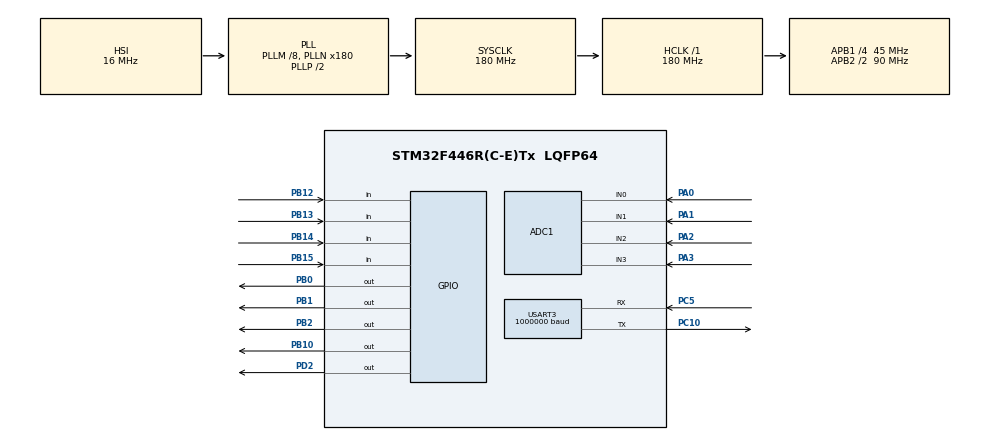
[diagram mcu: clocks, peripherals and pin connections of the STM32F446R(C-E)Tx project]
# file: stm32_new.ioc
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ADC1.Channel-1\#ChannelRegularConversion=ADC_CHANNEL_1
ADC1.Channel-2\#ChannelRegularConversion=ADC_CHANNEL_3
ADC1.Channel-3\#ChannelRegularConversion=ADC_CHANNEL_3
ADC1.ClockPrescaler=ADC_CLOCK_SYNC_PCLK_DIV4
ADC1.DMAContinuousRequests=ENABLE
ADC1.ExternalTrigConv=ADC_EXTERNALTRIGCONV_T8_TRGO
ADC1.NbrOfConversion=4
ADC1.NbrOfConversionFlag=1
ADC1.Rank-1\#ChannelRegularConversion=2
ADC1.Rank-2\#ChannelRegularConversion=3
ADC1.Rank-3\#ChannelRegularConversion=4
ADC1.SamplingTime-0\#ChannelRegularConversion=ADC_SAMPLETIME_15CYCLES
ADC1.SamplingTime-1\#ChannelRegularConversion=ADC_SAMPLETIME_15CYCLES
ADC1.SamplingTime-2\#ChannelRegularConversion=ADC_SAMPLETIME_15CYCLES
ADC1.SamplingTime-3\#ChannelRegularConversion=ADC_SAMPLETIME_15CYCLES
ADC1.ScanConvMode=ENABLE
ADC1.master=1
Dma.ADC1.0.Direction=DMA_PERIPH_TO_MEMORY
Dma.ADC1.0.FIFOMode=DMA_FIFOMODE_DISABLE
Dma.ADC1.0.Instance=DMA2_Stream0
Dma.ADC1.0.MemDataAlignment=DMA_MDATAALIGN_WORD
Dma.ADC1.0.MemInc=DMA_MINC_ENABLE
Dma.ADC1.0.Mode=DMA_CIRCULAR
Dma.ADC1.0.PeriphDataAlignment=DMA_PDATAALIGN_WORD
Dma.ADC1.0.PeriphInc=DMA_PINC_DISABLE
Dma.ADC1.0.Priority=DMA_PRIORITY_LOW
Dma.Request0=ADC1
Dma.Request1=USART3_RX
Dma.USART3_RX.1.Direction=DMA_PERIPH_TO_MEMORY
Dma.USART3_RX.1.FIFOMode=DMA_FIFOMODE_DISABLE
Dma.USART3_RX.1.Instance=DMA1_Stream1
Dma.USART3_RX.1.MemDataAlignment=DMA_MDATAALIGN_BYTE
Dma.USART3_RX.1.MemInc=DMA_MINC_ENABLE
Dma.USART3_RX.1.Mode=DMA_CIRCULAR
Dma.USART3_RX.1.PeriphDataAlignment=DMA_PDATAALIGN_BYTE
Dma.USART3_RX.1.PeriphInc=DMA_PINC_DISABLE
Dma.USART3_RX.1.Priority=DMA_PRIORITY_LOW
Mcu.Family=STM32F4
Mcu.Name=STM32F446R(C-E)Tx
Mcu.Package=LQFP64
NVIC.ADC_IRQn=true\:0\:0\:false\:false\:true\:true\:true\:true
NVIC.DMA1_Stream1_IRQn=true\:0\:0\:false\:false\:true\:false\:true\:true
NVIC.DMA2_Stream0_IRQn=true\:0\:0\:false\:false\:true\:false\:true\:true
NVIC.PriorityGroup=NVIC_PRIORITYGROUP_4
NVIC.TIM6_DAC_IRQn=true\:0\:0\:false\:false\:true\:true\:true\:true
NVIC.TIM8_UP_TIM13_IRQn=true\:0\:0\:false\:false\:true\:true\:true\:true
NVIC.USART3_IRQn=true\:0\:0\:false\:false\:true\:true\:true\:true
PA0-WKUP.Signal=ADCx_IN0
PA1.Signal=ADCx_IN1
PA13.Mode=Serial_Wire
PA13.Signal=SYS_JTMS-SWDIO
PA14.Mode=Serial_Wire
PA14.Signal=SYS_JTCK-SWCLK
PA2.Signal=ADCx_IN2
PA3.Signal=ADCx_IN3
PB0.Signal=GPIO_Output
PB1.Signal=GPIO_Output
PB10.Signal=GPIO_Output
PB12.Signal=GPIO_Input
PB13.Signal=GPIO_Input
PB14.Signal=GPIO_Input
PB15.Signal=GPIO_Input
PB2.Signal=GPIO_Output
PC10.Mode=Asynchronous
PC10.Signal=USART3_TX
PC5.Mode=Asynchronous
PC5.Signal=USART3_RX
PD2.Signal=GPIO_Output
PH0-OSC_IN.Mode=HSE-External-Oscillator
PH0-OSC_IN.Signal=RCC_OSC_IN
PH1-OSC_OUT.Mode=HSE-External-Oscillator
PH1-OSC_OUT.Signal=RCC_OSC_OUT
ProjectManager.HeapSize=0x200
ProjectManager.StackSize=0x400
ProjectManager.TargetToolchain=STM32CubeIDE
RCC.AHBFreq_Value=180000000
RCC.APB1CLKDivider=RCC_HCLK_DIV4
RCC.APB1Freq_Value=45000000
RCC.APB1TimFreq_Value=90000000
RCC.APB2CLKDivider=RCC_HCLK_DIV2
RCC.APB2Freq_Value=90000000
RCC.APB2TimFreq_Value=180000000
RCC.CortexFreq_Value=180000000
RCC.HCLKFreq_Value=180000000
RCC.HSE_VALUE=25000000
RCC.PLLM=8
RCC.PLLN=180
RCC.SYSCLKFreq_VALUE=180000000
RCC.SYSCLKSource=RCC_SYSCLKSOURCE_PLLCLK
RCC.USBFreq_Value=180000000
RCC.VCOOutputFreq_Value=360000000
SH.ADCx_IN0.0=ADC1_IN0,IN0
SH.ADCx_IN1.0=ADC1_IN1,IN1
SH.ADCx_IN2.0=ADC1_IN2,IN2
SH.ADCx_IN3.0=ADC1_IN3,IN3
TIM6.Period=100-1
TIM6.Prescaler=90-1
TIM8.Period=10000-1
TIM8.Prescaler=180-1
TIM8.TIM_MasterOutputTrigger=TIM_TRGO_UPDATE
USART3.BaudRate=1000000
USART3.VirtualMode=VM_ASYNC
VP_TIM6_VS_ClockSourceINT.Mode=Enable_Timer
VP_TIM8_VS_ClockSourceINT.Mode=Internal
board=custom

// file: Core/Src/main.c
/* USER CODE BEGIN Header */
/**
  ******************************************************************************
  * @file           : main.c
  * @brief          : Main program body
  ******************************************************************************
  * @attention
  *
  * Copyright (c) 2026 STMicroelectronics.
  * All rights reserved.
  *
  * This software is licensed under terms that can be found in the LICENSE file
  * in the root directory of this software component.
  * If no LICENSE file comes with this software, it is provided AS-IS.
  *
  ******************************************************************************
  */
/* USER CODE END Header */
#include "main.h"
#include "adc.h"
#include "dma.h"
#include "tim.h"
#include "usart.h"
#include "gpio.h"

/* USER CODE BEGIN PD */
#define RX_BUFFER_SIZE 256
/* USER CODE END PD */

/* USER CODE BEGIN PV */
uint8_t PCrxBuffer[RX_BUFFER_SIZE];

/* 과제1: 스위치 4개 -> LED 4개 매핑 */
#define SW_LED_COUNT 4
GPIO_TypeDef* sw_led_port[SW_LED_COUNT] = {GPIOB, GPIOB, GPIOB, GPIOB};
uint16_t      sw_led_pin[SW_LED_COUNT]  = {GPIO_PIN_0, GPIO_PIN_1, GPIO_PIN_2, GPIO_PIN_10};
GPIO_TypeDef* sw_port[SW_LED_COUNT]     = {GPIOB, GPIOB, GPIOB, GPIOB};
uint16_t      sw_pin[SW_LED_COUNT]      = {GPIO_PIN_12, GPIO_PIN_13, GPIO_PIN_14, GPIO_PIN_15};
/* USER CODE END PV */

void SystemClock_Config(void);

/* USER CODE BEGIN 0 */
#define SW_PRESSED(port, pin) (HAL_GPIO_ReadPin(port, pin) == GPIO_PIN_RESET)
/* USER CODE END 0 */

int main(void)
{

  HAL_Init();

  SystemClock_Config();

  MX_GPIO_Init();
  MX_DMA_Init();
  MX_ADC1_Init();
  MX_TIM8_Init();
  MX_TIM6_Init();
  MX_USART3_UART_Init();
  /* USER CODE BEGIN 2 */
  LL_USART_EnableDMAReq_RX(USART3);
  LL_USART_EnableIT_IDLE(USART3);
  LL_DMA_SetMemoryAddress(DMA1, LL_DMA_STREAM_1, (uint32_t)PCrxBuffer);
  LL_DMA_SetDataLength(DMA1, LL_DMA_STREAM_1, RX_BUFFER_SIZE);
  LL_DMA_SetPeriphAddress(DMA1, LL_DMA_STREAM_1, (uint32_t)&USART3->DR);
  LL_DMA_EnableStream(DMA1, LL_DMA_STREAM_1);
  /* USER CODE END 2 */

  /* Infinite loop */
  /* USER CODE BEGIN WHILE */
  while (1)
  {
      /* 1. PD2 LED: 항상 0.5초마다 토글 (1초 주기 - 0.5초 on / 0.5초 off) */
      HAL_GPIO_TogglePin(GPIOD, GPIO_PIN_2);

      /* 2. 스위치 4개 -> LED 4개, 눌려있으면 0.5초마다 토글 */
      for (int i = 0; i < SW_LED_COUNT; i++)
      {
          if (SW_PRESSED(sw_port[i], sw_pin[i]))
          {
              HAL_GPIO_TogglePin(sw_led_port[i], sw_led_pin[i]);
          }
      }

      HAL_Delay(500);
    /* USER CODE END WHILE */

  }
}

void SystemClock_Config(void)
{
  RCC_OscInitTypeDef RCC_OscInitStruct = {0};
  RCC_ClkInitTypeDef RCC_ClkInitStruct = {0};

  __HAL_RCC_PWR_CLK_ENABLE();
  __HAL_PWR_VOLTAGESCALING_CONFIG(PWR_REGULATOR_VOLTAGE_SCALE1);

  RCC_OscInitStruct.OscillatorType = RCC_OSCILLATORTYPE_HSI;
  RCC_OscInitStruct.HSIState = RCC_HSI_ON;
  RCC_OscInitStruct.HSICalibrationValue = RCC_HSICALIBRATION_DEFAULT;
  RCC_OscInitStruct.PLL.PLLState = RCC_PLL_ON;
  RCC_OscInitStruct.PLL.PLLSource = RCC_PLLSOURCE_HSI;
  RCC_OscInitStruct.PLL.PLLM = 8;
  RCC_OscInitStruct.PLL.PLLN = 180;
  RCC_OscInitStruct.PLL.PLLP = RCC_PLLP_DIV2;
  RCC_OscInitStruct.PLL.PLLQ = 2;
  RCC_OscInitStruct.PLL.PLLR = 2;
  if (HAL_RCC_OscConfig(&RCC_OscInitStruct) != HAL_OK)
  {
    Error_Handler();
  }

  if (HAL_PWREx_EnableOverDrive() != HAL_OK)
  {
    Error_Handler();
  }

  RCC_ClkInitStruct.ClockType = RCC_CLOCKTYPE_HCLK|RCC_CLOCKTYPE_SYSCLK
                              |RCC_CLOCKTYPE_PCLK1|RCC_CLOCKTYPE_PCLK2;
  RCC_ClkInitStruct.SYSCLKSource = RCC_SYSCLKSOURCE_PLLCLK;
  RCC_ClkInitStruct.AHBCLKDivider = RCC_SYSCLK_DIV1;
  RCC_ClkInitStruct.APB1CLKDivider = RCC_HCLK_DIV4;
  RCC_ClkInitStruct.APB2CLKDivider = RCC_HCLK_DIV2;

  if (HAL_RCC_ClockConfig(&RCC_ClkInitStruct, FLASH_LATENCY_5) != HAL_OK)
  {
    Error_Handler();
  }
}

/* USER CODE BEGIN 4 */
//TX 콜백 함수
void writePacket(uint8_t packet[], int length)
{
	for (int i = 0; i < length; i++)
	{
		while(!LL_USART_IsActiveFlag_TXE(USART3));
		LL_USART_TransmitData8(USART3, packet[i]);
	}
}
/* USER CODE END 4 */

void Error_Handler(void)
{
  __disable_irq();
  while (1)
  {
  }
}
